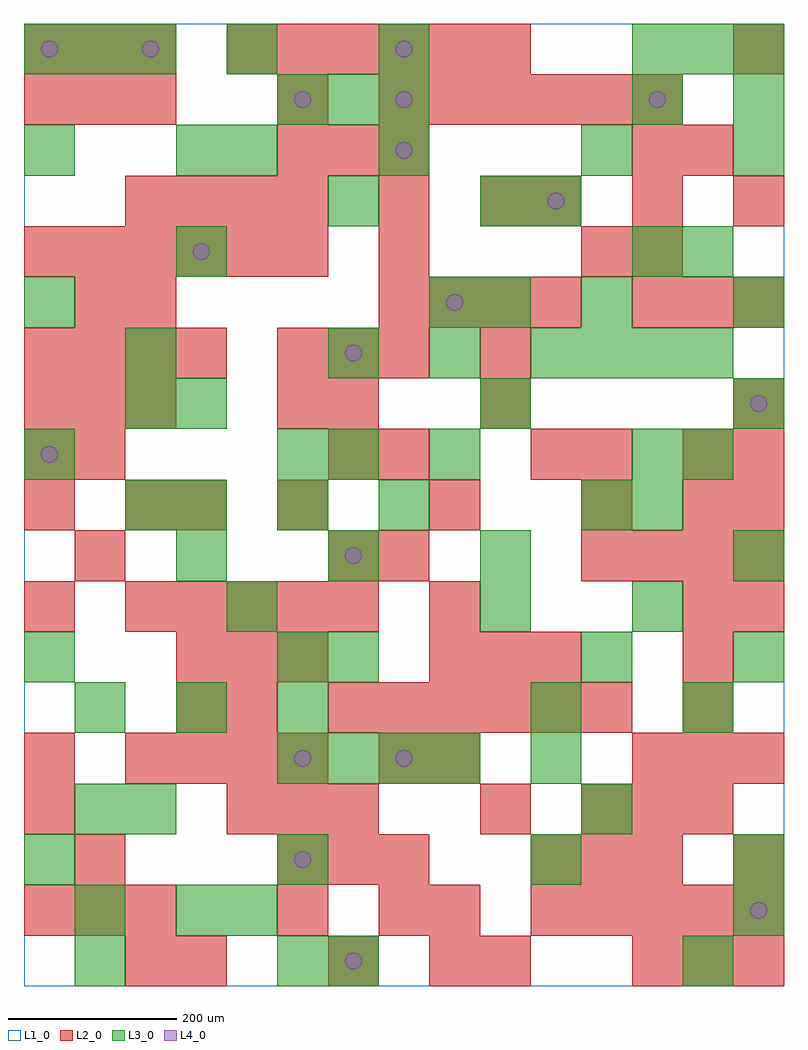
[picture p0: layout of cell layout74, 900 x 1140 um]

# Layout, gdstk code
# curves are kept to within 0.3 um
import gdstk
lib = gdstk.Library(unit=1e-6, precision=1e-09)
def R(c, l, rs):  # rectangles x0, y0, x1, y1
    for r in rs: c.add(gdstk.rectangle(r[:2], r[2:], *l))
def A(c, l, x, y, w, h, nx, ny, dx, dy):  # array of equal rectangles
    R(c, l, [(x+i*dx, y+j*dy, x+i*dx+w, y+j*dy+h) for i in range(nx) for j in range(ny)])
def P(c, l, *ps):  # polygons
    for p in ps: c.add(gdstk.Polygon(p, *l))
L1_0 = (1, 0)
L2_0 = (2, 0)
L3_0 = (3, 0)
L4_0 = (4, 0)

layout74 = lib.new_cell('layout74')
R(layout74, L1_0, [(0,0,900,1140)])
A(layout74, L2_0, 720, 0, 60, 60, 3, 2, 60, 240)
A(layout74, L2_0, 0, 60, 60, 60, 3, 2, 60, 600)
A(layout74, L2_0, 480, 60, 60, 60, 1, 3, 0, 180)
A(layout74, L2_0, 600, 60, 60, 60, 5, 1, 60, 0)
A(layout74, L2_0, 300, 120, 60, 60, 3, 2, 60, 600)
A(layout74, L2_0, 600, 120, 60, 60, 3, 1, 60, 0)
A(layout74, L2_0, 240, 180, 60, 60, 3, 1, 60, 0)
A(layout74, L2_0, 660, 180, 60, 60, 3, 1, 60, 0)
A(layout74, L2_0, 120, 240, 60, 60, 4, 2, 60, 660)
A(layout74, L2_0, 360, 300, 60, 60, 6, 1, 60, 0)
A(layout74, L2_0, 780, 300, 60, 60, 1, 3, 0, 60)
A(layout74, L2_0, 180, 360, 60, 60, 3, 1, 60, 0)
A(layout74, L2_0, 480, 360, 60, 60, 3, 1, 60, 0)
A(layout74, L2_0, 120, 420, 60, 60, 5, 1, 60, 0)
A(layout74, L2_0, 660, 480, 60, 60, 4, 1, 60, 0)
A(layout74, L2_0, 300, 540, 60, 60, 3, 1, 180, 0)
A(layout74, L2_0, 840, 540, 60, 60, 1, 3, 0, 60)
A(layout74, L2_0, 0, 720, 60, 60, 4, 1, 60, 0)
A(layout74, L2_0, 420, 780, 60, 60, 4, 1, 60, 0)
A(layout74, L2_0, 720, 780, 60, 60, 3, 1, 60, 0)
A(layout74, L2_0, 0, 840, 60, 60, 6, 1, 60, 0)
A(layout74, L2_0, 600, 900, 60, 60, 3, 1, 120, 0)
A(layout74, L2_0, 300, 960, 60, 60, 3, 1, 60, 0)
A(layout74, L2_0, 0, 1020, 60, 60, 3, 2, 60, 60)
A(layout74, L2_0, 420, 1020, 60, 60, 6, 1, 60, 0)
A(layout74, L2_0, 240, 1080, 60, 60, 6, 1, 60, 0)
R(layout74, L2_0, [(120,0,180,60), (180,0,240,60), (360,0,420,60), (480,0,540,60), (540,0,600,60), (300,60,360,120), (420,60,480,120), (60,120,120,180), (840,120,900,180), (0,180,60,240), (540,180,600,240), (0,240,60,300), (420,240,480,300), (180,300,240,360), (240,300,300,360), (0,420,60,480), (840,420,900,480), (60,480,120,540), (360,480,420,540), (420,480,480,540), (0,540,60,600), (120,540,180,600), (180,540,240,600), (780,540,840,600), (0,600,60,660), (60,600,120,660), (360,600,420,660), (420,600,480,660), (600,600,660,660), (660,600,720,660), (780,600,840,660), (300,660,360,720), (360,660,420,720), (540,660,600,720), (540,720,600,780), (60,780,120,840), (120,780,180,840), (420,840,480,900), (660,840,720,900), (720,840,780,900), (420,900,480,960), (540,900,600,960), (720,960,780,1020), (780,960,840,1020), (300,1020,360,1080), (840,1080,900,1140)])
A(layout74, L3_0, 780, 0, 60, 60, 1, 3, 0, 300)
A(layout74, L3_0, 0, 120, 60, 60, 3, 1, 300, 0)
A(layout74, L3_0, 660, 180, 60, 60, 1, 3, 0, 180)
A(layout74, L3_0, 300, 240, 60, 60, 4, 1, 60, 0)
A(layout74, L3_0, 60, 300, 60, 60, 3, 1, 120, 0)
A(layout74, L3_0, 180, 480, 60, 60, 3, 1, 180, 0)
A(layout74, L3_0, 180, 540, 60, 60, 3, 1, 120, 0)
A(layout74, L3_0, 0, 600, 60, 60, 1, 3, 0, 180)
A(layout74, L3_0, 540, 660, 60, 60, 1, 3, 0, 120)
A(layout74, L3_0, 360, 720, 60, 60, 3, 1, 120, 0)
A(layout74, L3_0, 660, 720, 60, 60, 3, 1, 60, 0)
A(layout74, L3_0, 300, 1020, 60, 60, 3, 1, 60, 0)
A(layout74, L3_0, 0, 1080, 60, 60, 3, 1, 60, 0)
A(layout74, L3_0, 720, 1080, 60, 60, 3, 1, 60, 0)
R(layout74, L3_0, [(60,0,120,60), (300,0,360,60), (360,0,420,60), (60,60,120,120), (180,60,240,120), (240,60,300,120), (840,60,900,120), (840,120,900,180), (60,180,120,240), (120,180,180,240), (600,240,660,300), (600,300,660,360), (0,360,60,420), (300,360,360,420), (360,360,420,420), (840,360,900,420), (240,420,300,480), (540,420,600,480), (720,420,780,480), (840,480,900,540), (120,540,180,600), (720,540,780,600), (300,600,360,660), (360,600,420,660), (480,600,540,660), (720,600,780,660), (120,660,180,720), (180,660,240,720), (840,660,900,720), (120,720,180,780), (480,780,540,840), (660,780,720,840), (840,780,900,840), (180,840,240,900), (720,840,780,900), (780,840,840,900), (360,900,420,960), (600,900,660,960), (180,960,240,1020), (240,960,300,1020), (420,960,480,1020), (660,960,720,1020), (840,960,900,1020), (720,1020,780,1080), (840,1020,900,1080), (240,1080,300,1140), (420,1080,480,1140)])
P(layout74, L4_0, [(40,630),(39.239,633.827),(37.071,637.071),(33.827,639.239),(30,640),(26.173,639.239),(22.929,637.071),(20.761,633.827),(20,630),(20.761,626.173),(22.929,622.929),(26.173,620.761),(30,620),(33.827,620.761),(37.071,622.929),(39.239,626.173)],
  [(40,1110),(39.239,1113.827),(37.071,1117.071),(33.827,1119.239),(30,1120),(26.173,1119.239),(22.929,1117.071),(20.761,1113.827),(20,1110),(20.761,1106.173),(22.929,1102.929),(26.173,1100.761),(30,1100),(33.827,1100.761),(37.071,1102.929),(39.239,1106.173)],
  [(160,1110),(159.239,1113.827),(157.071,1117.071),(153.827,1119.239),(150,1120),(146.173,1119.239),(142.929,1117.071),(140.761,1113.827),(140,1110),(140.761,1106.173),(142.929,1102.929),(146.173,1100.761),(150,1100),(153.827,1100.761),(157.071,1102.929),(159.239,1106.173)],
  [(220,870),(219.239,873.827),(217.071,877.071),(213.827,879.239),(210,880),(206.173,879.239),(202.929,877.071),(200.761,873.827),(200,870),(200.761,866.173),(202.929,862.929),(206.173,860.761),(210,860),(213.827,860.761),(217.071,862.929),(219.239,866.173)],
  [(340,150),(339.239,153.827),(337.071,157.071),(333.827,159.239),(330,160),(326.173,159.239),(322.929,157.071),(320.761,153.827),(320,150),(320.761,146.173),(322.929,142.929),(326.173,140.761),(330,140),(333.827,140.761),(337.071,142.929),(339.239,146.173)],
  [(340,270),(339.239,273.827),(337.071,277.071),(333.827,279.239),(330,280),(326.173,279.239),(322.929,277.071),(320.761,273.827),(320,270),(320.761,266.173),(322.929,262.929),(326.173,260.761),(330,260),(333.827,260.761),(337.071,262.929),(339.239,266.173)],
  [(340,1050),(339.239,1053.827),(337.071,1057.071),(333.827,1059.239),(330,1060),(326.173,1059.239),(322.929,1057.071),(320.761,1053.827),(320,1050),(320.761,1046.173),(322.929,1042.929),(326.173,1040.761),(330,1040),(333.827,1040.761),(337.071,1042.929),(339.239,1046.173)],
  [(400,30),(399.239,33.827),(397.071,37.071),(393.827,39.239),(390,40),(386.173,39.239),(382.929,37.071),(380.761,33.827),(380,30),(380.761,26.173),(382.929,22.929),(386.173,20.761),(390,20),(393.827,20.761),(397.071,22.929),(399.239,26.173)],
  [(400,510),(399.239,513.827),(397.071,517.071),(393.827,519.239),(390,520),(386.173,519.239),(382.929,517.071),(380.761,513.827),(380,510),(380.761,506.173),(382.929,502.929),(386.173,500.761),(390,500),(393.827,500.761),(397.071,502.929),(399.239,506.173)],
  [(400,750),(399.239,753.827),(397.071,757.071),(393.827,759.239),(390,760),(386.173,759.239),(382.929,757.071),(380.761,753.827),(380,750),(380.761,746.173),(382.929,742.929),(386.173,740.761),(390,740),(393.827,740.761),(397.071,742.929),(399.239,746.173)],
  [(460,270),(459.239,273.827),(457.071,277.071),(453.827,279.239),(450,280),(446.173,279.239),(442.929,277.071),(440.761,273.827),(440,270),(440.761,266.173),(442.929,262.929),(446.173,260.761),(450,260),(453.827,260.761),(457.071,262.929),(459.239,266.173)],
  [(460,990),(459.239,993.827),(457.071,997.071),(453.827,999.239),(450,1000),(446.173,999.239),(442.929,997.071),(440.761,993.827),(440,990),(440.761,986.173),(442.929,982.929),(446.173,980.761),(450,980),(453.827,980.761),(457.071,982.929),(459.239,986.173)],
  [(460,1050),(459.239,1053.827),(457.071,1057.071),(453.827,1059.239),(450,1060),(446.173,1059.239),(442.929,1057.071),(440.761,1053.827),(440,1050),(440.761,1046.173),(442.929,1042.929),(446.173,1040.761),(450,1040),(453.827,1040.761),(457.071,1042.929),(459.239,1046.173)],
  [(460,1110),(459.239,1113.827),(457.071,1117.071),(453.827,1119.239),(450,1120),(446.173,1119.239),(442.929,1117.071),(440.761,1113.827),(440,1110),(440.761,1106.173),(442.929,1102.929),(446.173,1100.761),(450,1100),(453.827,1100.761),(457.071,1102.929),(459.239,1106.173)],
  [(520,810),(519.239,813.827),(517.071,817.071),(513.827,819.239),(510,820),(506.173,819.239),(502.929,817.071),(500.761,813.827),(500,810),(500.761,806.173),(502.929,802.929),(506.173,800.761),(510,800),(513.827,800.761),(517.071,802.929),(519.239,806.173)],
  [(640,930),(639.239,933.827),(637.071,937.071),(633.827,939.239),(630,940),(626.173,939.239),(622.929,937.071),(620.761,933.827),(620,930),(620.761,926.173),(622.929,922.929),(626.173,920.761),(630,920),(633.827,920.761),(637.071,922.929),(639.239,926.173)],
  [(760,1050),(759.239,1053.827),(757.071,1057.071),(753.827,1059.239),(750,1060),(746.173,1059.239),(742.929,1057.071),(740.761,1053.827),(740,1050),(740.761,1046.173),(742.929,1042.929),(746.173,1040.761),(750,1040),(753.827,1040.761),(757.071,1042.929),(759.239,1046.173)],
  [(880,90),(879.239,93.827),(877.071,97.071),(873.827,99.239),(870,100),(866.173,99.239),(862.929,97.071),(860.761,93.827),(860,90),(860.761,86.173),(862.929,82.929),(866.173,80.761),(870,80),(873.827,80.761),(877.071,82.929),(879.239,86.173)],
  [(880,690),(879.239,693.827),(877.071,697.071),(873.827,699.239),(870,700),(866.173,699.239),(862.929,697.071),(860.761,693.827),(860,690),(860.761,686.173),(862.929,682.929),(866.173,680.761),(870,680),(873.827,680.761),(877.071,682.929),(879.239,686.173)])

lib.write_gds('layout74.gds')
